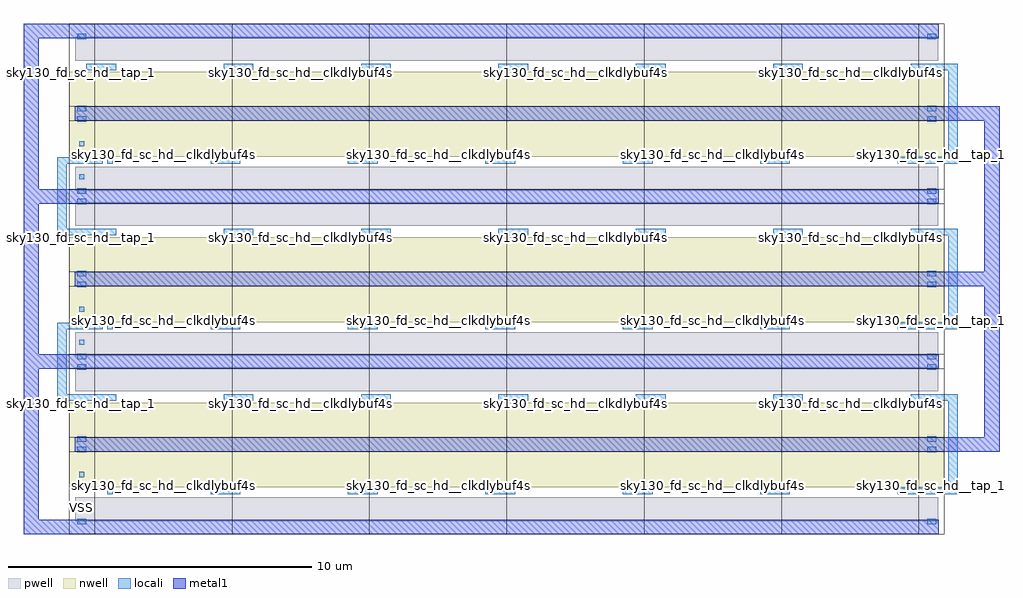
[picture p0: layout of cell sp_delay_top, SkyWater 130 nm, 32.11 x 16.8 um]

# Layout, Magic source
magic
tech sky130A
magscale 1 2
<< locali >>
rect 523 3055 552 3096
rect 223 2439 523 2481
rect 223 2009 283 2439
rect 223 1967 523 2009
rect 223 1351 523 1393
rect 223 921 283 1351
rect 223 879 523 921
rect 367 377 401 411
rect 552 263 586 297
rect 367 159 401 193
<< metal1 >>
rect 6022 2720 6422 2816
rect 6322 1728 6422 2720
rect 6022 1632 6422 1728
rect 6322 640 6422 1632
rect 6022 544 6422 640
use sp_delay2x  sp_delay2x_0
transform 1 0 300 0 1 0
box -300 0 5846 1184
use sp_delay2x  sp_delay2x_1
transform 1 0 300 0 1 1088
box -300 0 5846 1184
use sp_delay2x  sp_delay2x_2
transform 1 0 300 0 1 2176
box -300 0 5846 1184
<< labels >>
rlabel locali 367 377 401 411 5 VCC
port 1 s
rlabel locali 367 159 401 193 5 VSS
port 2 s
rlabel locali 552 263 586 297 5 VIN
port 3 s
rlabel locali 523 3055 552 3096 5 VOUT
port 4 s
<< end >>

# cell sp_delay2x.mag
magic
tech sky130A
magscale 1 2
<< nwell >>
rect 0 309 5760 867
<< locali >>
rect 223 879 252 921
rect 5537 879 5846 921
rect 67 377 101 411
rect 5786 305 5846 879
rect 252 263 286 297
rect 5647 263 5846 305
rect 67 159 101 193
<< metal1 >>
rect -300 1088 38 1184
rect -300 96 -200 1088
rect -300 0 38 96
use sp_delay  sp_delay_0
transform 1 0 38 0 1 48
box -38 -48 5722 592
use sp_delay  sp_delay_1
transform -1 0 5722 0 -1 1136
box -38 -48 5722 592
<< labels >>
rlabel locali 67 377 101 411 5 VCC
port 1 s
rlabel locali 67 159 101 193 5 VSS
port 2 s
rlabel locali 252 263 286 297 5 VIN
port 3 s
rlabel locali 223 879 252 921 5 VOUT
port 4 s
<< end >>

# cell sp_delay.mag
magic
tech sky130A
magscale 1 2
<< pwell >>
rect 3 38 5681 195
<< locali >>
rect 17 491 75 527
rect 5609 491 5667 527
rect 893 215 1089 257
rect 1797 215 1993 257
rect 2701 215 2897 257
rect 3605 215 3801 257
rect 4509 215 4705 257
rect 5413 215 5609 257
rect 17 17 75 53
rect 5609 17 5667 53
<< metal1 >>
rect 0 496 5684 592
rect 0 -48 5684 48
use sky130_fd_sc_hd__clkdlybuf4s50_2  sky130_fd_sc_hd__clkdlybuf4s50_2_0 $PDKPATH/libs.ref/sky130_fd_sc_hd/mag
transform 1 0 168 0 1 0
box -38 -48 866 592
use sky130_fd_sc_hd__clkdlybuf4s50_2  sky130_fd_sc_hd__clkdlybuf4s50_2_1
transform 1 0 1072 0 1 0
box -38 -48 866 592
use sky130_fd_sc_hd__clkdlybuf4s50_2  sky130_fd_sc_hd__clkdlybuf4s50_2_2
transform 1 0 1976 0 1 0
box -38 -48 866 592
use sky130_fd_sc_hd__clkdlybuf4s50_2  sky130_fd_sc_hd__clkdlybuf4s50_2_3
transform 1 0 2880 0 1 0
box -38 -48 866 592
use sky130_fd_sc_hd__clkdlybuf4s50_2  sky130_fd_sc_hd__clkdlybuf4s50_2_4
transform 1 0 3784 0 1 0
box -38 -48 866 592
use sky130_fd_sc_hd__clkdlybuf4s50_2  sky130_fd_sc_hd__clkdlybuf4s50_2_5
transform 1 0 4688 0 1 0
box -38 -48 866 592
use sky130_fd_sc_hd__tap_1  sky130_fd_sc_hd__tap_1_0 $PDKPATH/libs.ref/sky130_fd_sc_hd/mag
transform 1 0 0 0 1 0
box -38 -48 130 592
use sky130_fd_sc_hd__tap_1  sky130_fd_sc_hd__tap_1_1
transform 1 0 5592 0 1 0
box -38 -48 130 592
<< end >>
